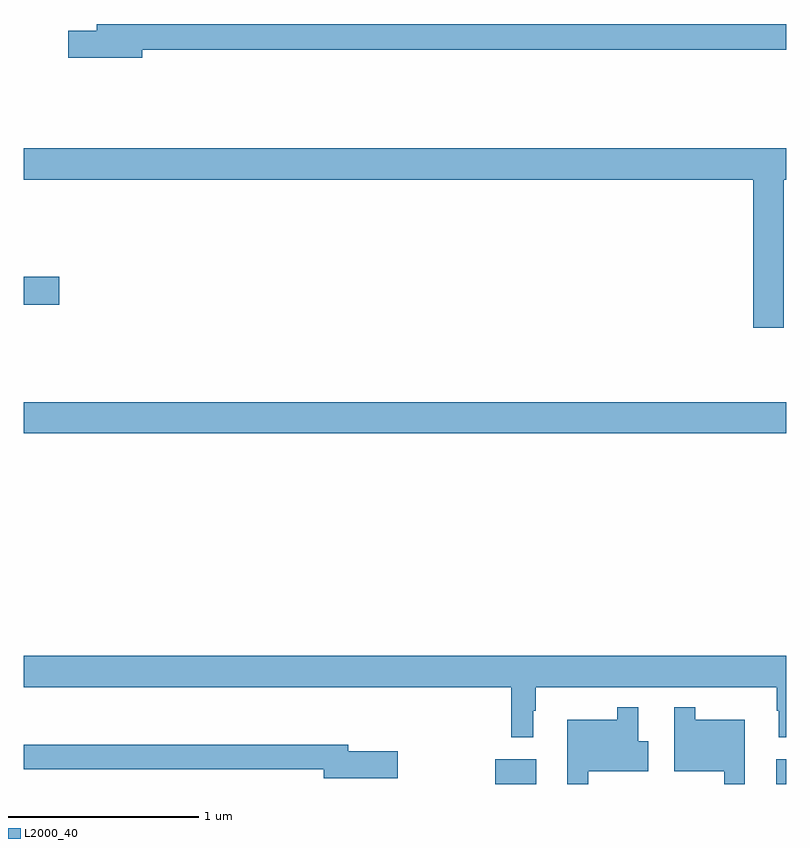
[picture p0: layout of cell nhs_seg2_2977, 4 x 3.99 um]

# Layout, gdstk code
import gdstk
lib = gdstk.Library(unit=1e-6, precision=1e-09)
def R(c, l, rs):  # rectangles x0, y0, x1, y1
    for r in rs: c.add(gdstk.rectangle(r[:2], r[2:], *l))
def P(c, l, *ps):  # polygons
    for p in ps: c.add(gdstk.Polygon(p, *l))
L2000_40 = (2000, 40)

nhs_seg2_2977 = lib.new_cell('nhs_seg2_2977')
R(nhs_seg2_2977, L2000_40, [(269.474,641.8,269.689,641.929), (270.947,641.8,271,641.929), (267,643.64,271,643.804), (267,644.315,267.187,644.462)])
P(nhs_seg2_2977, L2000_40, [(267.622,645.652),(271,645.652),(271,645.788),(267.383,645.788),(267.383,645.752),(267.234,645.752),(267.234,645.61),(267.622,645.61)],
  [(270.987,644.972),(271,644.972),(271,645.136),(267,645.136),(267,644.972),(270.827,644.972),(270.827,644.193),(270.987,644.193)],
  [(269.674,642.185),(269.686,642.185),(269.686,642.308),(270.951,642.308),(270.951,642.185),(270.962,642.185),(270.962,642.045),(271,642.045),(271,642.472),(267,642.472),(267,642.308),(269.557,642.308),(269.557,642.045),(269.674,642.045)],
  [(270.784,642.136),(270.523,642.136),(270.523,642.202),(270.414,642.202),(270.414,641.867),(270.675,641.867),(270.675,641.8),(270.784,641.8)],
  [(269.962,641.867),(270.277,641.867),(270.277,642.025),(270.224,642.025),(270.224,642.202),(270.114,642.202),(270.114,642.136),(269.852,642.136),(269.852,641.8),(269.962,641.8)],
  [(268.963,641.973),(268.702,641.973),(268.702,642.007),(267,642.007),(267,641.878),(268.574,641.878),(268.574,641.831),(268.963,641.831)])

lib.write_gds('nhs_seg2_2977.gds')
